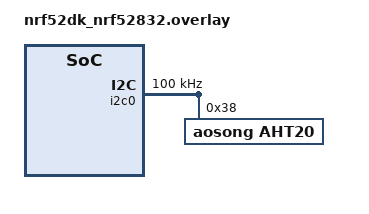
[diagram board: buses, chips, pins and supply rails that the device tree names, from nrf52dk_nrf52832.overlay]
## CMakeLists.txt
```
cmake_minimum_required(VERSION 3.20.0)

find_package(Zephyr REQUIRED HINTS $ENV{ZEPHYR_BASE})
project(AHT20)

# Include both source files to prevent 'undefined reference' errors
target_sources(app PRIVATE 
    src/main.c 
)
```

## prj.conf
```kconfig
# --- Hardware Subsystems ---
CONFIG_I2C=y
CONFIG_SENSOR=y

# --- Serial and Console (For UI / UART) ---
CONFIG_SERIAL=y
CONFIG_CONSOLE=y
CONFIG_UART_CONSOLE=y
CONFIG_UART_ASYNC_API=y

# --- System Features ---
CONFIG_REBOOT=y

# --- CRITICAL FOR TEMPERATURE/HUMIDITY SENSORS ---
# Allows printf to handle decimal numbers (%.2f)
CONFIG_CBPRINTF_FP_SUPPORT=y
```

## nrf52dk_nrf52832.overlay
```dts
/* Define the I2C bus.
 * Note: Change i2c0 to i2c1 if your specific nRF board uses I2C1 for its external pins! */
&i2c0 {
    compatible = "nordic,nrf-twim"; // Ensure this matches the I2C peripheral on your Nordic SoC
    status = "okay";
    clock-frequency = <I2C_BITRATE_STANDARD>;


    /* Define the AHT20 sensor node */
    aht20_sensor: aht20@38 {
        compatible = "aosong,aht20";
        reg = <0x38>; /* The I2C address of the AHT20 */
        status = "okay";
         label = "AHT20";
    };
};
```

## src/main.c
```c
#include <zephyr/kernel.h>
#include <zephyr/device.h>
#include <zephyr/drivers/sensor.h>
#include <stdio.h>

int main(void)
{
    /* Get the AHT20 device from the devicetree */
    const struct device *const aht20_dev = DEVICE_DT_GET_ANY(aosong_aht20);

    printf("Starting AHT20 Sensor Application...\n");

    /* Check if the AHT20 is ready on the I2C bus */
    if (aht20_dev == NULL || !device_is_ready(aht20_dev)) {
        printf("Error: AHT20 device is not ready. Check your app.overlay and wiring!\n");
        return 0;
    }

    printf("AHT20 Sensor ready. Beginning measurements...\n");

    /* Main Loop */
    while (1) {
        struct sensor_value temp, hum;

        /* Fetch the data from the sensor over I2C */
        if (sensor_sample_fetch(aht20_dev) == 0) {
            sensor_channel_get(aht20_dev, SENSOR_CHAN_AMBIENT_TEMP, &temp);
            sensor_channel_get(aht20_dev, SENSOR_CHAN_HUMIDITY, &hum);

            /* Convert Zephyr's internal struct to standard doubles for printing */
            double temp_val = sensor_value_to_double(&temp);
            double hum_val = sensor_value_to_double(&hum);

            /* Output string */
            printf("AHT20 Sensor: Temperature = %.2f C, Humidity = %.2f %%\n", temp_val, hum_val);
        } else {
            printf("Error: Failed to fetch data from AHT20.\n");
        }

        /* Sleep for 1000ms (1 second) before the next reading */
        k_sleep(K_MSEC(1000));
    }

    return 0;
}
```
